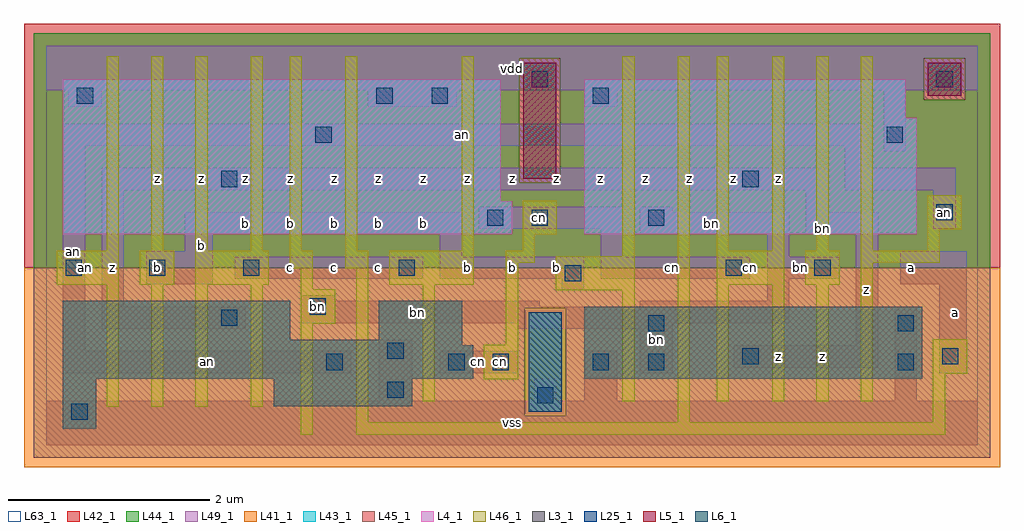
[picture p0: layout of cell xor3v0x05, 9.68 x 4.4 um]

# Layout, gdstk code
import gdstk
lib = gdstk.Library(unit=1e-6, precision=1e-09)
def R(c, l, rs):  # rectangles x0, y0, x1, y1
    for r in rs: c.add(gdstk.rectangle(r[:2], r[2:], *l))
def A(c, l, x, y, w, h, nx, ny, dx, dy):  # array of equal rectangles
    R(c, l, [(x+i*dx, y+j*dy, x+i*dx+w, y+j*dy+h) for i in range(nx) for j in range(ny)])
L3_1 = (3, 1)
L4_1 = (4, 1)
L5_1 = (5, 1)
L6_1 = (6, 1)
L25_1 = (25, 1)
L41_1 = (41, 1)
L42_1 = (42, 1)
L43_1 = (43, 1)
L44_1 = (44, 1)
L45_1 = (45, 1)
L46_1 = (46, 1)
L49_1 = (49, 1)
L63_1 = (63, 1)

xor3v0x05 = lib.new_cell('xor3v0x05')
R(xor3v0x05, L3_1, [(0.165,0.165,0.495,0.66), (2.255,0.385,3.63,0.66), (0.165,0.66,4.235,0.99), (5.335,0.66,8.69,1.375), (0.165,0.99,4.125,1.045), (0.165,1.045,2.42,1.43), (3.3,1.045,4.125,1.43)])
R(xor3v0x05, L4_1, [(0.165,2.09,4.62,2.42), (5.335,2.09,8.635,3.245), (0.165,2.42,4.51,3.63), (5.335,3.245,8.525,3.63)])
R(xor3v0x05, L5_1, [(4.73,2.64,5.06,3.795), (8.745,3.465,9.075,3.795)])
R(xor3v0x05, L6_1, [(4.785,0.33,5.115,1.32)])
R(xor3v0x05, L25_1, [(0.25,0.25,0.41,0.41), (4.87,0.415,5.03,0.575), (3.385,0.47,3.545,0.63), (2.78,0.745,2.94,0.905), (3.99,0.745,4.15,0.905), (4.43,0.745,4.59,0.905), (5.42,0.745,5.58,0.905), (5.97,0.745,6.13,0.905), (8.445,0.745,8.605,0.905), (6.905,0.8,7.065,0.96), (8.885,0.8,9.045,0.96), (3.385,0.855,3.545,1.015), (5.97,1.13,6.13,1.29), (8.445,1.13,8.605,1.29), (1.735,1.185,1.895,1.345), (2.615,1.295,2.775,1.455), (5.145,1.625,5.305,1.785), (0.195,1.68,0.355,1.84), (1.02,1.68,1.18,1.84), (1.955,1.68,2.115,1.84), (3.495,1.68,3.655,1.84), (6.74,1.68,6.9,1.84), (7.62,1.68,7.78,1.84), (4.375,2.175,4.535,2.335), (4.815,2.175,4.975,2.335), (5.97,2.175,6.13,2.335), (8.83,2.23,8.99,2.39), (1.735,2.56,1.895,2.72), (6.905,2.56,7.065,2.72), (2.67,3,2.83,3.16), (8.335,3,8.495,3.16), (0.305,3.385,0.465,3.545), (3.275,3.385,3.435,3.545), (3.825,3.385,3.985,3.545), (5.42,3.385,5.58,3.545), (4.815,3.55,4.975,3.71), (8.83,3.55,8.99,3.71)])
R(xor3v0x05, L41_1, [(-0.22,-0.22,9.46,1.76)])
R(xor3v0x05, L42_1, [(-0.22,1.76,9.46,4.18)])
R(xor3v0x05, L43_1, [(0.165,0.165,0.495,0.66), (4.785,0.33,5.115,1.32), (2.255,0.385,3.63,0.66), (0.165,0.66,4.235,0.99), (5.335,0.66,8.69,1.375), (0.165,0.99,4.125,1.045), (0.165,1.045,2.42,1.43), (3.3,1.045,4.125,1.43), (0.165,2.09,4.62,2.42), (5.335,2.09,8.635,3.245), (0.165,2.42,4.51,3.63), (4.73,2.64,5.06,3.795), (5.335,3.245,8.525,3.63), (8.745,3.465,9.075,3.795)])
R(xor3v0x05, L44_1, [(4.745,0.29,5.155,1.36), (-0.125,1.76,9.365,2.6), (-0.125,2.6,4.69,3.835), (5.1,2.6,9.365,3.425), (5.1,3.425,8.705,3.835), (9.115,3.425,9.365,3.835), (-0.125,3.835,9.365,4.085)])
R(xor3v0x05, L45_1, [(-0.125,-0.125,9.365,0.29), (-0.125,0.29,4.745,1.36), (5.155,0.29,9.365,1.36), (-0.125,1.36,9.365,1.76), (4.69,2.6,5.1,3.835), (8.705,3.425,9.115,3.835)])
A(xor3v0x05, L46_1, 0.6, 0.38, 0.12, 1.21, 3, 1, 0.44, 0)
A(xor3v0x05, L46_1, 0.6, 1.93, 0.12, 1.925, 3, 1, 0.44, 0)
A(xor3v0x05, L46_1, 7.2, 1.93, 0.12, 1.925, 3, 1, 0.44, 0)
R(xor3v0x05, L46_1, [(2.525,0.105,2.645,1.205), (3.075,0.105,8.915,0.225), (3.075,0.225,3.195,1.755), (6.265,0.225,6.385,3.855), (8.795,0.225,8.915,0.71), (2.03,0.38,2.15,1.59), (3.735,0.435,3.855,1.59), (5.715,0.435,5.835,1.535), (6.65,0.435,6.77,1.59), (7.2,0.435,7.32,1.59), (7.64,0.435,7.76,1.59), (8.08,0.435,8.2,1.81), (4.34,0.655,4.68,0.995), (8.795,0.71,9.135,1.05), (4.56,0.995,4.68,1.81), (2.525,1.205,2.865,1.545), (5.055,1.535,5.835,1.875), (2.525,1.545,2.645,1.755), (0.105,1.59,0.72,1.93), (0.93,1.59,1.27,1.93), (1.48,1.59,2.205,1.93), (3.405,1.59,4.24,1.93), (6.65,1.59,7.32,1.93), (7.53,1.59,7.87,1.93), (2.415,1.755,2.645,1.93), (2.965,1.755,3.195,1.93), (4.56,1.81,4.845,1.93), (8.08,1.81,8.86,1.93), (5.715,1.875,5.835,3.855), (2.03,1.93,2.15,3.855), (2.415,1.93,2.535,3.855), (2.965,1.93,3.085,3.855), (4.12,1.93,4.24,3.855), (4.725,1.93,4.845,2.085), (6.65,1.93,6.77,3.855), (8.74,1.93,8.86,2.14), (4.725,2.085,5.065,2.425), (8.74,2.14,9.08,2.48)])
R(xor3v0x05, L49_1, [(0,0,9.24,0.44), (3.3,0.44,3.63,1.045), (4.84,0.44,5.06,0.66), (5.335,0.44,5.665,0.935), (8.415,0.44,8.635,1.375), (0.165,0.715,3.025,0.935), (3.905,0.715,4.675,0.935), (5.885,0.715,6.215,1.155), (8.855,0.715,9.13,1.595), (6.82,0.77,8.25,0.99), (0.165,0.935,0.385,2.97), (8.03,0.99,8.25,2.09), (0.55,1.155,1.98,1.375), (4.675,1.155,6.215,1.21), (2.53,1.21,7.37,1.375), (0.55,1.375,0.77,2.53), (2.53,1.375,4.895,1.43), (5.885,1.375,7.37,1.43), (2.53,1.43,2.86,1.485), (7.15,1.43,7.37,1.65), (5.115,1.54,5.335,1.65), (0.99,1.595,1.65,1.925), (8.47,1.595,9.13,1.925), (1.87,1.65,3.74,1.87), (3.905,1.65,5.335,1.87), (5.5,1.65,6.985,1.87), (7.15,1.65,7.865,1.87), (3.905,1.87,4.125,2.09), (5.5,1.87,5.72,2.145), (7.15,1.87,7.37,2.09), (1.375,1.925,1.65,2.09), (1.375,2.09,4.125,2.31), (5.885,2.09,7.37,2.31), (7.535,2.09,8.25,2.31), (4.29,2.145,5.72,2.365), (8.8,2.145,9.02,2.53), (5.885,2.31,6.215,2.365), (7.535,2.31,7.755,2.53), (0.55,2.53,7.755,2.75), (7.92,2.53,9.02,2.75), (7.92,2.75,8.14,2.97), (8.305,2.915,8.525,3.52), (0.165,2.97,8.14,3.19), (0.22,3.355,0.55,3.52), (3.19,3.355,4.07,3.52), (5.335,3.355,5.665,3.52), (0,3.52,9.24,3.96)])
R(xor3v0x05, L63_1, [(0,0,9.24,3.96)])
xor3v0x05.add(gdstk.Label('an', (0.385,1.76), layer=46, texttype=1))
xor3v0x05.add(gdstk.Label('bn', (2.695,1.375), layer=49, texttype=1))
xor3v0x05.add(gdstk.Label('cn', (4.51,0.825), layer=49, texttype=1))
xor3v0x05.add(gdstk.Label('cn', (4.895,2.255), layer=49, texttype=1))
xor3v0x05.add(gdstk.Label('cn', (6.985,1.76), layer=46, texttype=1))
xor3v0x05.add(gdstk.Label('an', (8.91,2.31), layer=49, texttype=1))
xor3v0x05.add(gdstk.Label('bn', (7.7,2.145), layer=46, texttype=1))
xor3v0x05.add(gdstk.Label('z', (0.66,1.76), layer=49, texttype=1))
xor3v0x05.add(gdstk.Label('b', (1.1,1.76), layer=49, texttype=1))
xor3v0x05.add(gdstk.Label('b', (1.54,1.98), layer=49, texttype=1))
xor3v0x05.add(gdstk.Label('z', (1.1,2.64), layer=49, texttype=1))
xor3v0x05.add(gdstk.Label('z', (1.54,2.64), layer=49, texttype=1))
xor3v0x05.add(gdstk.Label('an', (0.275,1.925), layer=49, texttype=1))
xor3v0x05.add(gdstk.Label('an', (1.595,0.825), layer=49, texttype=1))
xor3v0x05.add(gdstk.Label('c', (2.42,1.76), layer=49, texttype=1))
xor3v0x05.add(gdstk.Label('c', (2.86,1.76), layer=49, texttype=1))
xor3v0x05.add(gdstk.Label('c', (3.3,1.76), layer=49, texttype=1))
xor3v0x05.add(gdstk.Label('b', (1.98,2.2), layer=49, texttype=1))
xor3v0x05.add(gdstk.Label('b', (2.42,2.2), layer=49, texttype=1))
xor3v0x05.add(gdstk.Label('b', (2.86,2.2), layer=49, texttype=1))
xor3v0x05.add(gdstk.Label('b', (3.3,2.2), layer=49, texttype=1))
xor3v0x05.add(gdstk.Label('z', (1.98,2.64), layer=49, texttype=1))
xor3v0x05.add(gdstk.Label('z', (2.42,2.64), layer=49, texttype=1))
xor3v0x05.add(gdstk.Label('z', (2.86,2.64), layer=49, texttype=1))
xor3v0x05.add(gdstk.Label('z', (3.3,2.64), layer=49, texttype=1))
xor3v0x05.add(gdstk.Label('vss', (4.62,0.22), layer=49, texttype=1))
xor3v0x05.add(gdstk.Label('cn', (4.29,0.825), layer=49, texttype=1))
xor3v0x05.add(gdstk.Label('bn', (3.685,1.32), layer=49, texttype=1))
xor3v0x05.add(gdstk.Label('b', (4.18,1.76), layer=49, texttype=1))
xor3v0x05.add(gdstk.Label('b', (4.62,1.76), layer=49, texttype=1))
xor3v0x05.add(gdstk.Label('b', (5.06,1.76), layer=49, texttype=1))
xor3v0x05.add(gdstk.Label('b', (3.74,2.2), layer=49, texttype=1))
xor3v0x05.add(gdstk.Label('z', (3.74,2.64), layer=49, texttype=1))
xor3v0x05.add(gdstk.Label('z', (4.18,2.64), layer=49, texttype=1))
xor3v0x05.add(gdstk.Label('z', (4.62,2.64), layer=49, texttype=1))
xor3v0x05.add(gdstk.Label('z', (5.06,2.64), layer=49, texttype=1))
xor3v0x05.add(gdstk.Label('vdd', (4.62,3.74), layer=49, texttype=1))
xor3v0x05.add(gdstk.Label('z', (7.26,0.88), layer=49, texttype=1))
xor3v0x05.add(gdstk.Label('bn', (6.05,1.045), layer=49, texttype=1))
xor3v0x05.add(gdstk.Label('cn', (6.215,1.76), layer=49, texttype=1))
xor3v0x05.add(gdstk.Label('bn', (6.6,2.2), layer=49, texttype=1))
xor3v0x05.add(gdstk.Label('cn', (5.005,2.255), layer=49, texttype=1))
xor3v0x05.add(gdstk.Label('z', (5.5,2.64), layer=49, texttype=1))
xor3v0x05.add(gdstk.Label('z', (5.94,2.64), layer=49, texttype=1))
xor3v0x05.add(gdstk.Label('z', (6.38,2.64), layer=49, texttype=1))
xor3v0x05.add(gdstk.Label('z', (6.82,2.64), layer=49, texttype=1))
xor3v0x05.add(gdstk.Label('z', (7.26,2.64), layer=49, texttype=1))
xor3v0x05.add(gdstk.Label('z', (7.7,0.88), layer=49, texttype=1))
xor3v0x05.add(gdstk.Label('a', (9.02,1.32), layer=49, texttype=1))
xor3v0x05.add(gdstk.Label('z', (8.14,1.54), layer=49, texttype=1))
xor3v0x05.add(gdstk.Label('a', (8.58,1.76), layer=49, texttype=1))
xor3v0x05.add(gdstk.Label('bn', (7.48,1.76), layer=49, texttype=1))
xor3v0x05.add(gdstk.Label('z', (7.7,2.2), layer=49, texttype=1))
xor3v0x05.add(gdstk.Label('an', (8.91,2.42), layer=49, texttype=1))
xor3v0x05.add(gdstk.Label('an', (4.125,3.08), layer=49, texttype=1))

lib.write_gds('xor3v0x05.gds')
